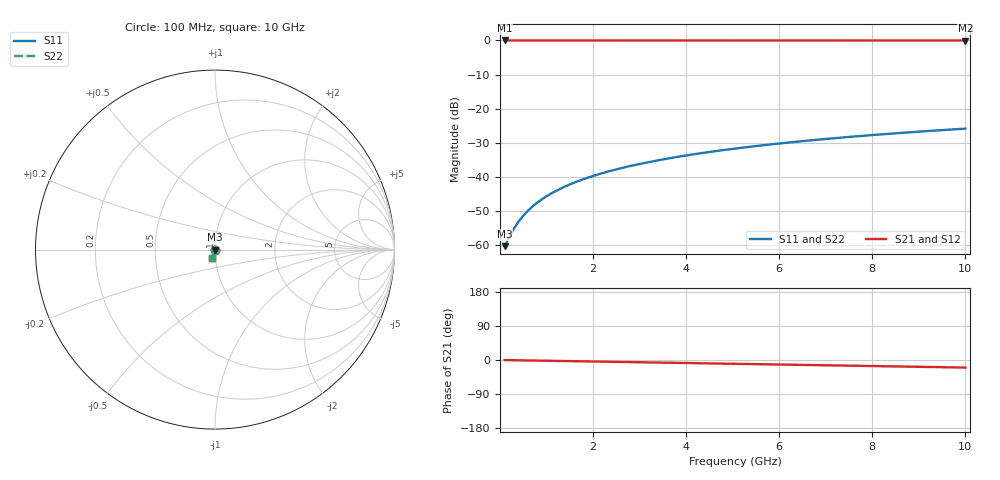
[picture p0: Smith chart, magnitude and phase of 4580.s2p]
# Hz S RI R 50.00
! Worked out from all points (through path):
!   100 points, 100 MHz to 10 GHz, reference 50 ohm
!   highest |S21| = -0.01 dB at 100 MHz (marker M1); lowest = 0.0 dB at 10 GHz (marker M2)
!   group delay of S21, straight-line fit = 5.55 ps
!   lowest |S11| = -60.3 dB at 100 MHz (marker M3), VSWR 1.00, Z = 50.1 - j0.0517 ohm
!   |S11| at or under -10 dB: start of sweep to end of sweep
!   |S22| runs from -60.3 to -25.9 dB; largest |S21 - S12| = 0
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1e8  0.000817 -0.000516  0.9992 -0.00346  0.9992 -0.00346  0.000817 -0.000516
2e8  0.000815 -0.00103  0.9991 -0.00691  0.9991 -0.00691  0.000815 -0.00103
3e8  0.000808 -0.00155  0.9991 -0.0104  0.9991 -0.0104  0.000808 -0.00155
4e8  0.000797 -0.00207  0.9991 -0.0138  0.9991 -0.0138  0.000797 -0.00207
5e8  0.000782 -0.00258  0.999 -0.0173  0.999 -0.0173  0.000782 -0.00258
6e8  0.000763 -0.0031  0.9989 -0.0207  0.9989 -0.0207  0.000763 -0.0031
7e8  0.000741 -0.00361  0.9988 -0.0242  0.9988 -0.0242  0.000741 -0.00361
9e8  0.000684 -0.00465  0.9986 -0.0311  0.9986 -0.0311  0.000684 -0.00465
1e9  0.00065 -0.00516  0.9985 -0.0346  0.9985 -0.0346  0.00065 -0.00516
1.2e9  0.000571 -0.00619  0.9982 -0.0415  0.9982 -0.0415  0.000571 -0.00619
1.5e9  0.000426 -0.00774  0.9977 -0.0518  0.9977 -0.0518  0.000426 -0.00774
1.8e9  0.000248 -0.00929  0.9971 -0.0622  0.9971 -0.0622  0.000248 -0.00929
2.1e9  3.7e-05 -0.0108  0.9964 -0.0726  0.9964 -0.0726  3.7e-05 -0.0108
2.5e9  -0.000294 -0.0129  0.9953 -0.0864  0.9953 -0.0864  -0.000294 -0.0129
2.9e9  -0.000683 -0.0149  0.9939 -0.1002  0.9939 -0.1002  -0.000683 -0.0149
3.4e9  -0.00125 -0.0175  0.992 -0.1174  0.992 -0.1174  -0.00125 -0.0175
4.2e9  -0.00234 -0.0215  0.9882 -0.1449  0.9882 -0.1449  -0.00234 -0.0215
5.1e9  -0.00384 -0.026  0.9831 -0.1758  0.9831 -0.1758  -0.00384 -0.026
5.9e9  -0.0054 -0.0299  0.9776 -0.2031  0.9776 -0.2031  -0.0054 -0.0299
6.7e9  -0.00719 -0.0337  0.9714 -0.2304  0.9714 -0.2304  -0.00719 -0.0337
8.4e9  -0.0117 -0.0414  0.9556 -0.2877  0.9556 -0.2877  -0.0117 -0.0414
1e10  -0.0167 -0.0482  0.9375 -0.3408  0.9375 -0.3408  -0.0167 -0.0482
